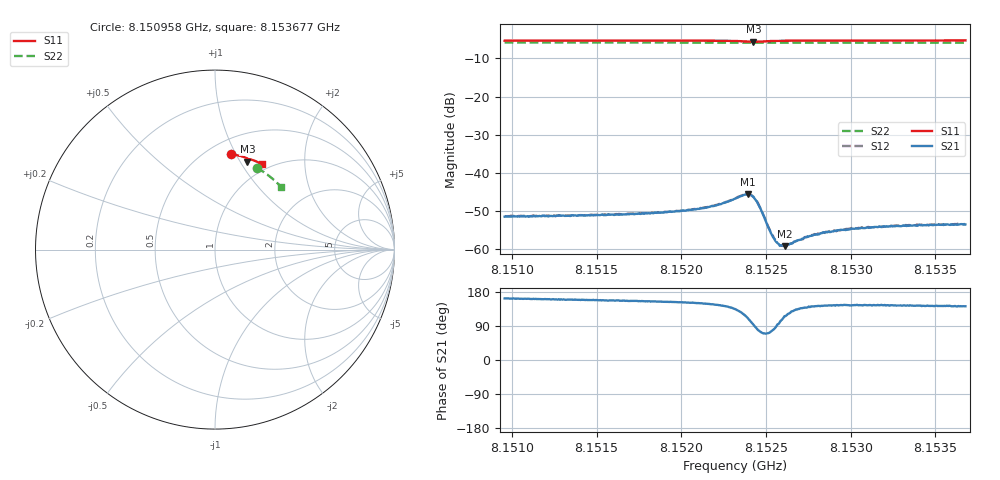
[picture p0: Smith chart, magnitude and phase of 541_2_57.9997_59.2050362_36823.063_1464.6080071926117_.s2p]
#  HZ  S  RI  R  50.00
! Rohde & Schwarz Vector Network Analyzer
! Rohde-Schwarz,ZNB20-2Port,1311601062101988,3.16
! Created: UTC 3/21/2024, 1:14:36 AM
! freq[Hz]  re:S11  im:S11  re:S21  im:S21  re:S12  im:S12  re:S22  im:S22
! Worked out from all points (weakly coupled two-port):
!   401 points, 8.150958 GHz to 8.153677 GHz, reference 50 ohm
!   highest |S21| = -45.56 dB at 8.152392 GHz (marker M1); lowest = -59.2 dB at 8.15261 GHz (marker M2)
!   lowest |S11| = -5.7 dB at 8.152426 GHz (marker M3), VSWR 3.18, Z = 39.9 + j53.7 ohm
!   |S11| at or under -10 dB: nowhere
!   |S22| runs from -5.9 to -5.8 dB; largest |S21 - S12| = 0.00011
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8.1509576e9  0.0879 0.532  -0.00255 0.000813  -0.00257 0.000859  0.2317 0.4554
8.1514131e9  0.1195 0.5266  -0.00263 0.000994  -0.00257 0.00108  0.2572 0.4409
8.1518686e9  0.1513 0.5188  -0.00273 0.00131  -0.00274 0.00139  0.2817 0.4249
8.1520453e9  0.164 0.515  -0.00288 0.00157  -0.00288 0.00163  0.2909 0.4183
8.1521473e9  0.1717 0.5119  -0.003 0.00183  -0.00299 0.00192  0.2962 0.4144
8.1522289e9  0.1785 0.5084  -0.00317 0.00226  -0.00318 0.00234  0.3004 0.4111
8.1523173e9  0.1854 0.5019  -0.00323 0.00329  -0.00321 0.00333  0.3049 0.4075
8.1523649e9  0.1872 0.4955  -0.00272 0.00431  -0.00269 0.00442  0.307 0.4054
8.1523921e9  0.1856 0.4915  -0.00189 0.00492  -0.00184 0.00498  0.3082 0.4043
8.1524125e9  0.1826 0.4897  -0.000926 0.00503  -0.000893 0.00507  0.309 0.4035
8.1524261e9  0.1801 0.4895  -0.000257 0.00484  -0.000188 0.00489  0.3096 0.4031
8.1524397e9  0.1778 0.4906  0.000342 0.00443  0.000397 0.00447  0.3099 0.4026
8.1524601e9  0.1759 0.4936  0.000842 0.00361  0.000903 0.00362  0.3112 0.4019
8.1525212e9  0.1795 0.5017  0.000553 0.00172  0.000572 0.00174  0.3143 0.3998
8.1525484e9  0.1826 0.5031  0.000195 0.00137  0.000195 0.00137  0.3158 0.3987
8.1525756e9  0.1857 0.5037  -0.000112 0.00117  -0.000126 0.00115  0.3172 0.3978
8.1526096e9  0.1893 0.5038  -0.000478 0.000992  -0.000444 0.00104  0.3188 0.3963
8.1527728e9  0.2033 0.5012  -0.00117 0.000949  -0.0012 0.00098  0.327 0.3896
8.1528544e9  0.2093 0.4991  -0.00135 0.000995  -0.00135 0.00104  0.3307 0.386
8.1530175e9  0.2207 0.495  -0.00152 0.00107  -0.00154 0.00111  0.3386 0.379
8.1532283e9  0.2346 0.4891  -0.00161 0.0012  -0.00163 0.00118  0.3481 0.3697
8.153677e9  0.2632 0.4754  -0.00167 0.00131  -0.00166 0.00134  0.3677 0.3492
